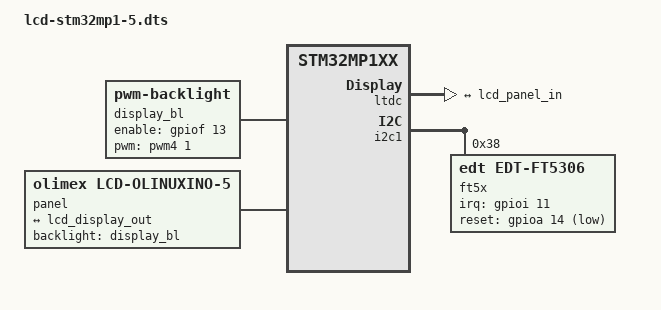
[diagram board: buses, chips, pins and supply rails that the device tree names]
/dts-v1/;
/plugin/;

/ {
	compatible = "olimex,stm32mp1xx-olinuxino-som",
                     "olimex,stm32mp1xx-olinuxino-lime",
		     "stm32mp1xx-olinuxino-som-base";

	description = "LCD-OLinuXino-5CTS 800x480 panel with capacitive TS and I2C interface";

	fragment@0 {
		target-path = "/";
		__overlay__ {
			display_bl: display-bl {
                                    compatible = "pwm-backlight";
                                    pwms = <&pwm4 1 50000 1>;
                                    brightness-levels = <0 10 20 30 40 50 60 70 80 90 100>;
                                    default-brightness-level = <10>;
                                    enable-gpios = <&gpiof 13 0>;
                                    status = "okay";
                        };
			panel {
                              compatible = "olimex,lcd-olinuxino-5";
                              backlight = <&display_bl>;
                              port {
                                lcd_panel_in: endpoint {
                                       remote-endpoint = <&lcd_display_out>;
                                };
                            };
                      };
		};
	};

	fragment@1 {
		target = <&ltdc>;
		__overlay__ {
                port {
                        lcd_display_out: endpoint {
                        remote-endpoint = <&lcd_panel_in>;
                    };
               };
	    };
	};

	fragment@2 {
		target = <&i2c1>;
		__overlay__ {
			ft5x@38 {
				compatible = "edt,edt-ft5306";
				reg = <0x38>;

				touchscreen-size-x = <800>;
				touchscreen-size-y = <480>;

                                interrupt-parent = <&gpioi>;
                                interrupts = <11 2>;          /* PI11: IRQ_TYPE_EDGE_FALLING */

                                irq-gpios = <&gpioi 11 0>;      /* PI11 */
                                reset-gpios = <&gpioa 14 1>;    /* PA14: GPIO_ACTIVE_LOW */

                        };
		};
	};
};
	
